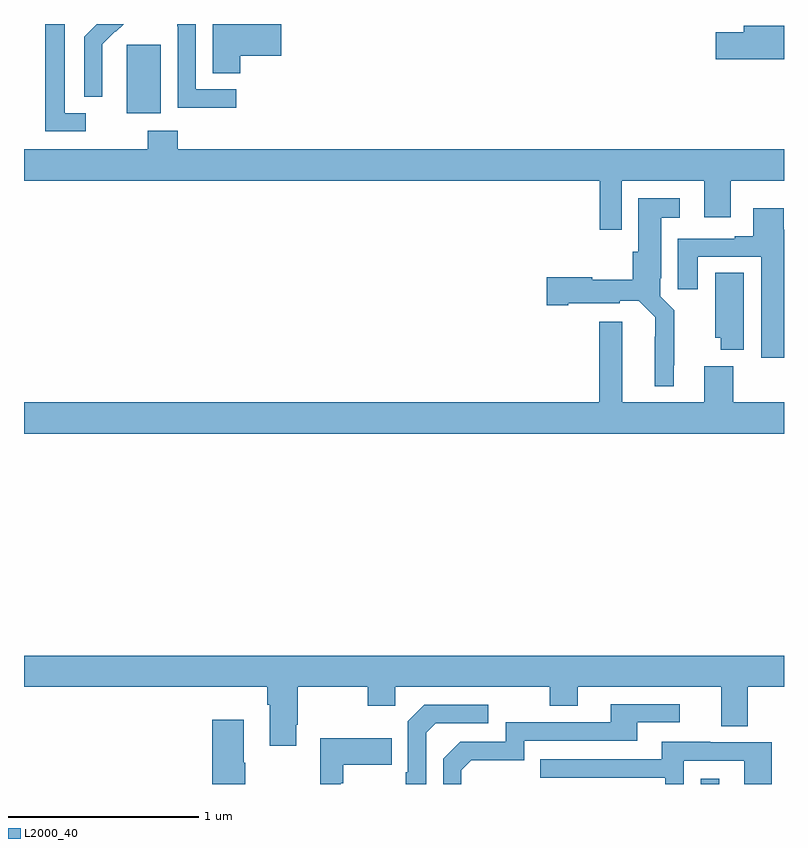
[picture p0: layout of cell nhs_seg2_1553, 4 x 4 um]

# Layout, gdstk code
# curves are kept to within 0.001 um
import gdstk
lib = gdstk.Library(unit=1e-6, precision=1e-09)
def R(c, l, rs):  # rectangles x0, y0, x1, y1
    for r in rs: c.add(gdstk.rectangle(r[:2], r[2:], *l))
def P(c, l, *ps):  # polygons
    for p in ps: c.add(gdstk.Polygon(p, *l))
L2000_40 = (2000, 40)

nhs_seg2_1553 = lib.new_cell('nhs_seg2_1553')
R(nhs_seg2_1553, L2000_40, [(194.562,637.8,194.659,637.828), (191.54,641.33,191.719,641.691)])
P(nhs_seg2_1553, L2000_40, [(191.326,641.331),(191.215,641.331),(191.215,641.8),(191.111,641.8),(191.111,641.235),(191.326,641.235)],
  [(192.137,641.633),(192.355,641.633),(192.355,641.8),(191.993,641.8),(191.993,641.542),(192.137,641.542)],
  [(191.412,641.57),(191.411,641.57),(191.411,641.693),(191.481,641.763),(191.484,641.76),(191.524,641.8),(191.382,641.8),(191.316,641.734),(191.316,641.416),(191.412,641.416)],
  [(192.118,641.457),(191.904,641.457),(191.904,641.8),(191.806,641.8),(191.806,641.788),(191.808,641.788),(191.808,641.359),(192.118,641.359)],
  [(195,641.792),(194.789,641.792),(194.789,641.756),(194.64,641.756),(194.64,641.614),(195,641.614)],
  [(194.145,640.976),(194.579,640.976),(194.579,640.782),(194.719,640.782),(194.719,640.976),(195,640.976),(195,641.14),(191.81,641.14),(191.81,641.239),(191.65,641.239),(191.65,641.14),(191,641.14),(191,640.976),(194.029,640.976),(194.029,640.716),(194.145,640.716)],
  [(194.419,640.003),(194.423,640.003),(194.423,640.294),(194.349,640.368),(194.349,640.462),(194.353,640.462),(194.353,640.781),(194.452,640.781),(194.452,640.882),(194.234,640.882),(194.234,640.602),(194.204,640.602),(194.204,640.453),(193.992,640.453),(193.992,640.466),(193.752,640.466),(193.752,640.319),(193.864,640.319),(193.864,640.331),(194.136,640.331),(194.136,640.343),(194.235,640.343),(194.322,640.256),(194.321,639.893),(194.419,639.893)],
  [(195,640.718),(194.998,640.718),(194.998,640.831),(194.837,640.831),(194.837,640.684),(194.741,640.684),(194.741,640.671),(194.441,640.671),(194.441,640.404),(194.545,640.404),(194.545,640.575),(194.879,640.575),(194.879,640.044),(195,640.044)],
  [(194.788,640.49),(194.639,640.49),(194.639,640.149),(194.666,640.149),(194.666,640.085),(194.788,640.085)],
  [(195,639.808),(194.732,639.808),(194.732,640),(194.579,640),(194.579,639.808),(194.149,639.808),(194.149,640.234),(194.027,640.234),(194.027,639.808),(191,639.808),(191,639.644),(195,639.644)],
  [(192.433,638.113),(192.441,638.113),(192.441,638.312),(192.808,638.312),(192.808,638.213),(192.954,638.213),(192.954,638.312),(193.768,638.312),(193.768,638.213),(193.915,638.213),(193.915,638.312),(194.669,638.312),(194.669,638.104),(194.809,638.104),(194.809,638.312),(195,638.312),(195,638.476),(191,638.476),(191,638.312),(192.281,638.312),(192.281,638.216),(192.293,638.216),(192.293,638.001),(192.433,638.001)],
  [(193.302,637.872),(193.355,637.925),(193.632,637.925),(193.632,638.028),(194.227,638.028),(194.227,638.124),(194.452,638.124),(194.452,638.22),(194.087,638.22),(194.087,638.124),(193.536,638.124),(193.536,638.022),(193.296,638.022),(193.206,637.932),(193.206,637.8),(193.302,637.8)],
  [(193.116,638.07),(193.167,638.121),(193.444,638.121),(193.444,638.217),(193.107,638.217),(193.02,638.13),(193.02,637.861),(193.008,637.861),(193.008,637.8),(193.116,637.8)],
  [(192.165,637.913),(192.157,637.913),(192.157,638.137),(191.99,638.137),(191.99,637.8),(192.165,637.8)],
  [(192.666,637.805),(192.679,637.805),(192.679,637.901),(192.935,637.901),(192.935,638.041),(192.558,638.041),(192.558,637.8),(192.666,637.8)],
  [(194.472,637.923),(194.79,637.923),(194.79,637.8),(194.935,637.8),(194.935,638.019),(194.611,638.019),(194.611,638.023),(194.357,638.023),(194.357,637.929),(193.717,637.929),(193.717,637.833),(194.376,637.833),(194.376,637.8),(194.472,637.8)])

lib.write_gds('nhs_seg2_1553.gds')
